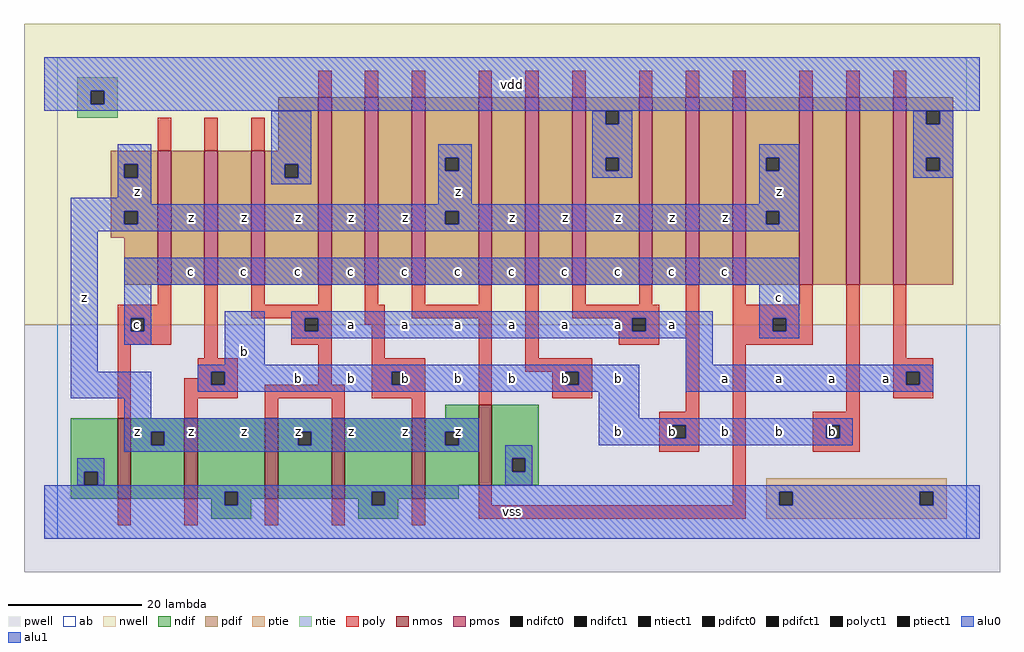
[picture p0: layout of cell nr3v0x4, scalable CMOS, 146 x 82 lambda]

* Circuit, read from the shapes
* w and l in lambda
.subckt nr3v0x4 a b c vdd vss z
M1 z c vss vss nfet w=12 l=2 m=2
M2 vss b z vss nfet w=12 l=2 m=2
M3 z a vss vss nfet w=12 l=2 m=2
M4 n1 c z vdd pfet w=20 l=2
M5 n2 b n1 vdd pfet w=20 l=2
M6 vdd a n2 vdd pfet w=20 l=2
M7 n3 a vdd vdd pfet w=28 l=2
M8 n4 b n3 vdd pfet w=28 l=2
M9 z c n4 vdd pfet w=28 l=2
M10 n5 c z vdd pfet w=28 l=2
M11 n6 b n5 vdd pfet w=28 l=2
M12 vdd a n6 vdd pfet w=28 l=2
M13 n7 a vdd vdd pfet w=28 l=2
M14 n8 b n7 vdd pfet w=28 l=2
M15 z c n8 vdd pfet w=28 l=2
M16 n9 c z vdd pfet w=28 l=2
M17 n10 b n9 vdd pfet w=28 l=2
M18 vdd a n10 vdd pfet w=28 l=2
.ends

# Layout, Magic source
magic
tech scmos
<< ab >>
rect 0 0 136 72
<< nwell >>
rect -5 32 141 77
<< pwell >>
rect -5 -5 141 32
<< poly >>
rect 39 66 41 70
rect 46 66 48 70
rect 53 66 55 70
rect 63 66 65 70
rect 70 66 72 70
rect 77 66 79 70
rect 87 66 89 70
rect 94 66 96 70
rect 101 66 103 70
rect 111 66 113 70
rect 118 66 120 70
rect 125 66 127 70
rect 15 58 17 63
rect 22 58 24 63
rect 29 58 31 63
rect 15 35 17 38
rect 9 33 17 35
rect 9 31 11 33
rect 13 31 17 33
rect 9 29 17 31
rect 9 18 11 29
rect 22 27 24 38
rect 29 35 31 38
rect 39 35 41 38
rect 29 33 41 35
rect 35 31 37 33
rect 39 31 41 33
rect 46 35 48 38
rect 53 35 55 38
rect 63 35 65 38
rect 46 32 49 35
rect 53 33 65 35
rect 35 29 41 31
rect 21 25 27 27
rect 21 24 23 25
rect 19 23 23 24
rect 25 23 27 25
rect 39 23 41 29
rect 47 27 49 32
rect 47 25 55 27
rect 47 23 50 25
rect 52 23 55 25
rect 19 21 27 23
rect 31 21 43 23
rect 47 21 55 23
rect 19 18 21 21
rect 31 18 33 21
rect 41 18 43 21
rect 53 18 55 21
rect 63 20 65 33
rect 70 27 72 38
rect 77 35 79 38
rect 87 35 89 38
rect 77 33 90 35
rect 84 31 86 33
rect 88 31 90 33
rect 84 29 90 31
rect 70 25 80 27
rect 74 23 76 25
rect 78 23 80 25
rect 74 21 80 23
rect 9 2 11 6
rect 19 2 21 6
rect 31 2 33 6
rect 41 2 43 6
rect 94 19 96 38
rect 90 17 96 19
rect 90 15 92 17
rect 94 15 96 17
rect 90 13 96 15
rect 101 35 103 38
rect 111 35 113 38
rect 101 33 113 35
rect 101 31 107 33
rect 109 31 113 33
rect 101 29 113 31
rect 53 2 55 6
rect 63 5 65 8
rect 101 5 103 29
rect 118 19 120 38
rect 125 27 127 38
rect 125 25 131 27
rect 125 23 127 25
rect 129 23 131 25
rect 125 21 131 23
rect 113 17 120 19
rect 113 15 115 17
rect 117 15 120 17
rect 113 13 120 15
rect 63 3 103 5
<< ndif >>
rect 58 18 63 20
rect 2 10 9 18
rect 2 8 4 10
rect 6 8 9 10
rect 2 6 9 8
rect 11 16 19 18
rect 11 14 14 16
rect 16 14 19 16
rect 11 6 19 14
rect 21 7 31 18
rect 21 6 25 7
rect 23 5 25 6
rect 27 6 31 7
rect 33 16 41 18
rect 33 14 36 16
rect 38 14 41 16
rect 33 6 41 14
rect 43 7 53 18
rect 43 6 47 7
rect 27 5 29 6
rect 23 3 29 5
rect 45 5 47 6
rect 49 6 53 7
rect 55 16 63 18
rect 55 14 58 16
rect 60 14 63 16
rect 55 8 63 14
rect 65 12 72 20
rect 65 10 68 12
rect 70 10 72 12
rect 65 8 72 10
rect 55 6 60 8
rect 49 5 51 6
rect 45 3 51 5
<< pdif >>
rect 33 58 39 66
rect 8 56 15 58
rect 8 54 10 56
rect 12 54 15 56
rect 8 49 15 54
rect 8 47 10 49
rect 12 47 15 49
rect 8 45 15 47
rect 10 38 15 45
rect 17 38 22 58
rect 24 38 29 58
rect 31 56 39 58
rect 31 54 34 56
rect 36 54 39 56
rect 31 38 39 54
rect 41 38 46 66
rect 48 38 53 66
rect 55 57 63 66
rect 55 55 58 57
rect 60 55 63 57
rect 55 49 63 55
rect 55 47 58 49
rect 60 47 63 49
rect 55 38 63 47
rect 65 38 70 66
rect 72 38 77 66
rect 79 64 87 66
rect 79 62 82 64
rect 84 62 87 64
rect 79 57 87 62
rect 79 55 82 57
rect 84 55 87 57
rect 79 38 87 55
rect 89 38 94 66
rect 96 38 101 66
rect 103 57 111 66
rect 103 55 106 57
rect 108 55 111 57
rect 103 49 111 55
rect 103 47 106 49
rect 108 47 111 49
rect 103 38 111 47
rect 113 38 118 66
rect 120 38 125 66
rect 127 64 134 66
rect 127 62 130 64
rect 132 62 134 64
rect 127 57 134 62
rect 127 55 130 57
rect 132 55 134 57
rect 127 38 134 55
<< alu1 >>
rect -2 67 138 72
rect -2 65 5 67
rect 7 65 138 67
rect -2 64 138 65
rect 9 56 14 59
rect 9 54 10 56
rect 12 54 14 56
rect 9 51 14 54
rect 57 57 62 59
rect 57 55 58 57
rect 60 55 62 57
rect 2 50 14 51
rect 57 50 62 55
rect 105 57 111 59
rect 105 55 106 57
rect 108 55 111 57
rect 105 50 111 55
rect 2 49 111 50
rect 2 47 10 49
rect 12 47 58 49
rect 60 47 106 49
rect 108 47 111 49
rect 2 46 111 47
rect 2 25 6 46
rect 10 38 111 42
rect 10 33 14 38
rect 10 31 11 33
rect 13 31 14 33
rect 10 29 14 31
rect 25 26 31 34
rect 35 33 98 34
rect 35 31 37 33
rect 39 31 86 33
rect 88 31 98 33
rect 35 30 98 31
rect 105 33 111 38
rect 105 31 107 33
rect 109 31 111 33
rect 105 30 111 31
rect 94 26 98 30
rect 21 25 87 26
rect 2 21 14 25
rect 21 23 23 25
rect 25 23 50 25
rect 52 23 76 25
rect 78 23 87 25
rect 21 22 87 23
rect 94 25 131 26
rect 94 23 127 25
rect 129 23 131 25
rect 94 22 131 23
rect 10 18 14 21
rect 81 18 87 22
rect 10 16 63 18
rect 10 14 14 16
rect 16 14 36 16
rect 38 14 58 16
rect 60 14 63 16
rect 81 17 119 18
rect 81 15 92 17
rect 94 15 115 17
rect 117 15 119 17
rect 81 14 119 15
rect 10 13 63 14
rect -2 7 138 8
rect -2 5 25 7
rect 27 5 47 7
rect 49 5 108 7
rect 110 5 129 7
rect 131 5 138 7
rect -2 0 138 5
<< ptie >>
rect 106 7 133 9
rect 106 5 108 7
rect 110 5 129 7
rect 131 5 133 7
rect 106 3 133 5
<< ntie >>
rect 3 67 9 69
rect 3 65 5 67
rect 7 65 9 67
rect 3 63 9 65
<< nmos >>
rect 9 6 11 18
rect 19 6 21 18
rect 31 6 33 18
rect 41 6 43 18
rect 53 6 55 18
rect 63 8 65 20
<< pmos >>
rect 15 38 17 58
rect 22 38 24 58
rect 29 38 31 58
rect 39 38 41 66
rect 46 38 48 66
rect 53 38 55 66
rect 63 38 65 66
rect 70 38 72 66
rect 77 38 79 66
rect 87 38 89 66
rect 94 38 96 66
rect 101 38 103 66
rect 111 38 113 66
rect 118 38 120 66
rect 125 38 127 66
<< polyct1 >>
rect 11 31 13 33
rect 37 31 39 33
rect 23 23 25 25
rect 50 23 52 25
rect 86 31 88 33
rect 76 23 78 25
rect 92 15 94 17
rect 107 31 109 33
rect 127 23 129 25
rect 115 15 117 17
<< ndifct0 >>
rect 4 8 6 10
rect 68 10 70 12
<< ndifct1 >>
rect 14 14 16 16
rect 25 5 27 7
rect 36 14 38 16
rect 47 5 49 7
rect 58 14 60 16
<< ntiect1 >>
rect 5 65 7 67
<< ptiect1 >>
rect 108 5 110 7
rect 129 5 131 7
<< pdifct0 >>
rect 34 54 36 56
rect 82 62 84 64
rect 82 55 84 57
rect 130 62 132 64
rect 130 55 132 57
<< pdifct1 >>
rect 10 54 12 56
rect 10 47 12 49
rect 58 55 60 57
rect 58 47 60 49
rect 106 55 108 57
rect 106 47 108 49
<< alu0 >>
rect 32 56 38 64
rect 80 62 82 64
rect 84 62 86 64
rect 32 54 34 56
rect 36 54 38 56
rect 32 53 38 54
rect 80 57 86 62
rect 128 62 130 64
rect 132 62 134 64
rect 80 55 82 57
rect 84 55 86 57
rect 80 54 86 55
rect 128 57 134 62
rect 128 55 130 57
rect 132 55 134 57
rect 128 54 134 55
rect 67 12 71 14
rect 3 10 7 12
rect 3 8 4 10
rect 6 8 7 10
rect 67 10 68 12
rect 70 10 71 12
rect 67 8 71 10
<< labels >>
rlabel alu1 12 16 12 16 6 z
rlabel alu1 20 16 20 16 6 z
rlabel polyct1 12 32 12 32 6 c
rlabel alu1 20 40 20 40 6 c
rlabel alu1 4 36 4 36 6 z
rlabel alu1 20 48 20 48 6 z
rlabel alu1 12 52 12 52 6 z
rlabel alu1 36 16 36 16 6 z
rlabel alu1 44 16 44 16 6 z
rlabel alu1 28 16 28 16 6 z
rlabel alu1 44 24 44 24 6 b
rlabel alu1 36 24 36 24 6 b
rlabel alu1 44 32 44 32 6 a
rlabel alu1 28 28 28 28 6 b
rlabel alu1 28 40 28 40 6 c
rlabel alu1 44 40 44 40 6 c
rlabel alu1 36 40 36 40 6 c
rlabel alu1 28 48 28 48 6 z
rlabel alu1 44 48 44 48 6 z
rlabel alu1 36 48 36 48 6 z
rlabel alu1 68 4 68 4 6 vss
rlabel alu1 60 16 60 16 6 z
rlabel alu1 52 16 52 16 6 z
rlabel alu1 52 24 52 24 6 b
rlabel alu1 68 24 68 24 6 b
rlabel alu1 76 24 76 24 6 b
rlabel alu1 60 24 60 24 6 b
rlabel alu1 60 32 60 32 6 a
rlabel alu1 68 32 68 32 6 a
rlabel alu1 76 32 76 32 6 a
rlabel alu1 52 32 52 32 6 a
rlabel alu1 52 40 52 40 6 c
rlabel alu1 68 40 68 40 6 c
rlabel alu1 76 40 76 40 6 c
rlabel alu1 60 40 60 40 6 c
rlabel alu1 52 48 52 48 6 z
rlabel alu1 68 48 68 48 6 z
rlabel alu1 76 48 76 48 6 z
rlabel alu1 60 52 60 52 6 z
rlabel alu1 68 68 68 68 6 vdd
rlabel alu1 92 16 92 16 6 b
rlabel alu1 108 16 108 16 6 b
rlabel alu1 100 16 100 16 6 b
rlabel alu1 84 16 84 16 6 b
rlabel alu1 84 24 84 24 6 b
rlabel alu1 108 24 108 24 6 a
rlabel alu1 100 24 100 24 6 a
rlabel alu1 92 32 92 32 6 a
rlabel alu1 84 32 84 32 6 a
rlabel alu1 84 40 84 40 6 c
rlabel alu1 92 40 92 40 6 c
rlabel alu1 108 36 108 36 6 c
rlabel alu1 100 40 100 40 6 c
rlabel alu1 84 48 84 48 6 z
rlabel alu1 92 48 92 48 6 z
rlabel alu1 108 52 108 52 6 z
rlabel alu1 100 48 100 48 6 z
rlabel polyct1 116 16 116 16 6 b
rlabel alu1 116 24 116 24 6 a
rlabel alu1 124 24 124 24 6 a
<< end >>
